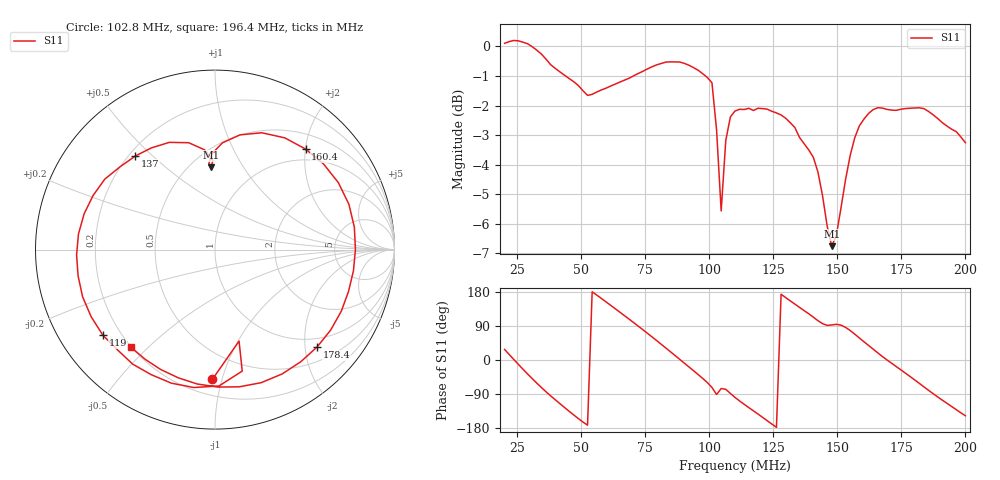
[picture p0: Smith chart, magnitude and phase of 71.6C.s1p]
# HZ S RI R 50
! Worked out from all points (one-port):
!   101 points, 20 MHz to 200 MHz, reference 50 ohm
!   lowest |S11| = -6.8 dB at 147.8 MHz (marker M1), VSWR 2.70, Z = 31.5 + j36.7 ohm
!   |S11| at or under -10 dB: nowhere
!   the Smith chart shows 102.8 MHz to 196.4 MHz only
!   S11 on the Smith chart (normalised r, x): 102.8 MHz: 0.31, -0.93; 119 MHz: 0.13, -0.33; 137 MHz: 0.23, +0.44; 160.4 MHz: 0.77, +2.00; 178.4 MHz: 0.80, -2.26; 196.4 MHz: 0.20, -0.44
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2e7  0.8951 0.4718
2.54e7  1 -0.2073
3.26e7  0.4747 -0.8629
3.8e7  -0.0755 -0.928
4.34e7  -0.5158 -0.73
5.42e7  -0.8297 0.0004
6.5e7  -0.5153 0.7011
7.58e7  0.3063 0.8632
8.3e7  0.8017 0.492
8.84e7  0.9404 0.0288
9.56e7  0.7148 -0.5651
1.01e8  0.261 -0.8276
1.028e8  -0.0141 -0.7223
1.046e8  0.1341 -0.5099
1.1e8  -0.1176 -0.7685
1.19e8  -0.6247 -0.4769
1.262e8  -0.7711 -0.0307
1.334e8  -0.6143 0.3923
1.37e8  -0.4433 0.5216
1.424e8  -0.1466 0.5955
1.478e8  -0.0207 0.4591
1.55e8  0.1389 0.6393
1.604e8  0.5042 0.5603
1.676e8  0.7766 0.1243
1.784e8  0.5687 -0.5426
1.874e8  0.0158 -0.766
1.964e8  -0.4698 -0.5428
2e8  -0.5775 -0.3729
